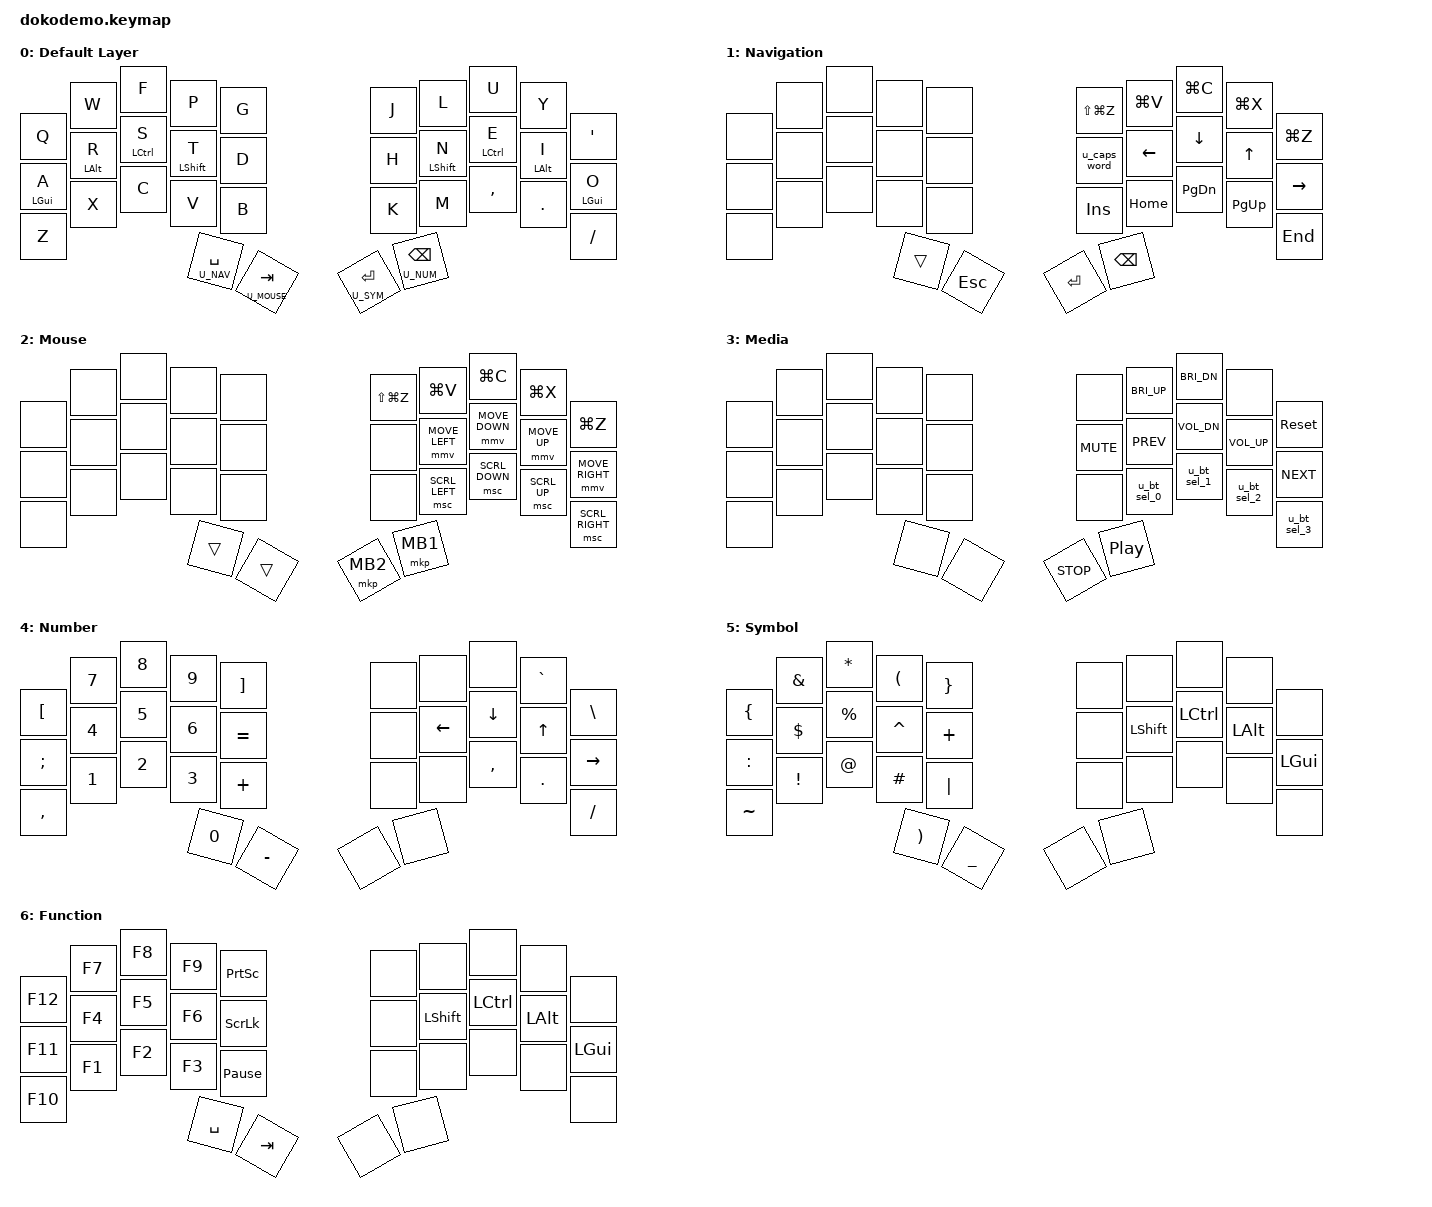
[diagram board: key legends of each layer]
// Copyright (c) 2022 The ZMK Contributors
// SPDX-License-Identifier: MIT


// ZMK includes
#include <behaviors.dtsi>
#include <dt-bindings/zmk/keys.h>
#include <dt-bindings/zmk/bt.h>
#include <dt-bindings/zmk/behaviors.h>


// Layers
#define U_BASE 0
#define U_NAV 1
#define U_MOUSE 2
#define U_MEDIA 3
#define U_NUM 4
#define U_SYM 5
#define U_FUN 6


// Clipboard - Custom keycodes
// If define statment has "&", don't add "&" in the mapping.
#define U_RDO &kp LS(LG(Z))
#define U_PST &kp LG(V)
#define U_CPY &kp LG(C)
#define U_CUT &kp LG(X)
#define U_UND &kp LG(Z)


// Mousekeys
#define ZMK_POINTING_DEFAULT_MOVE_VAL 700 // 1250 (Per Miryoku's settings)
#define ZMK_POINTING_DEFAULT_SCRL_VAL 20 // 100 (Per Miryoku's settings)

#include <dt-bindings/zmk/pointing.h>

#define U_BTN1 &mkp MB1
#define U_BTN2 &mkp MB2
#define U_BTN3 &mkp MB3

#define U_MS_D &mmv MOVE_DOWN
#define U_MS_L &mmv MOVE_LEFT
#define U_MS_R &mmv MOVE_RIGHT
#define U_MS_U &mmv MOVE_UP
#define U_WH_D &msc SCRL_DOWN
#define U_WH_L &msc SCRL_LEFT
#define U_WH_R &msc SCRL_RIGHT
#define U_WH_U &msc SCRL_UP


// Mouse behaviour
&mmv {
    acceleration-exponent = <1>;
    time-to-max-speed-ms = <500>;
    delay-ms = <0>;
};

&msc {
    acceleration-exponent = <0>;
    time-to-max-speed-ms = <300>;
    delay-ms = <0>;
};


// Macros - Bluetooth
/ {
    macros {
        u_macro_bt_sel_0: u_macro_bt_sel_0 {
            compatible = "zmk,behavior-macro";
            #binding-cells = <0>;
            wait-ms = <0>;
            bindings = <&bt BT_SEL 0 &bt BT_CLR>;
        };
        u_macro_bt_sel_1: u_macro_bt_sel_1 {
            compatible = "zmk,behavior-macro";
            #binding-cells = <0>;
            wait-ms = <0>;
            bindings = <&bt BT_SEL 1 &bt BT_CLR>;
        };
        u_macro_bt_sel_2: u_macro_bt_sel_2 {
            compatible = "zmk,behavior-macro";
            #binding-cells = <0>;
            wait-ms = <0>;
            bindings = <&bt BT_SEL 2 &bt BT_CLR>;
        };
        u_macro_bt_sel_3: u_macro_bt_sel_3 {
            compatible = "zmk,behavior-macro";
            #binding-cells = <0>;
            wait-ms = <0>;
            bindings = <&bt BT_SEL 3 &bt BT_CLR>;
        };
    };
};


// Behaviours
/ {
    behaviors {
        // urob-style timeless homerow mods
        // Regular mod tap and layer tap wasn't cutting it as inputting multiple HRM combos is finnicky.
        hm: homerow_mods {
            compatible = "zmk,behavior-hold-tap";
            #binding-cells = <2>;
            tapping-term-ms = <260>; // 200
            quick-tap-ms = <175>;
            require-prior-idle-ms = <150>; // 150
            flavor = "balanced";
            bindings = <&kp>, <&kp>;
        };
        // mod tap and layer tap
        // mod tap behaviour not in use
        /*mt: mod_tap {
            compatible = "zmk,behavior-hold-tap";
            #binding-cells = <2>;
            flavor = "tap-preferred";
            tapping-term-ms = <200>;
            bindings = <&kp>, <&kp>;
        };*/
        lt: layer_tap {
            compatible = "zmk,behavior-hold-tap";
            #binding-cells = <2>;
            flavor = "balanced"; // Tap preferred
            tapping-term-ms = <200>;
            quick-tap-ms = <175>; // Implemented urob's global quick tap
            bindings = <&mo>, <&kp>;
        };
        // Bluetooth
        u_bt_sel_0: u_bt_sel_0 {
            compatible = "zmk,behavior-mod-morph";
            #binding-cells = <0>;
            bindings = <&bt BT_SEL 0>, <&u_macro_bt_sel_0>;
            mods = <(MOD_LSFT|MOD_RSFT)>;
        };
        u_bt_sel_1: u_bt_sel_1 {
            compatible = "zmk,behavior-mod-morph";
            #binding-cells = <0>;
            bindings = <&bt BT_SEL 1>, <&u_macro_bt_sel_1>;
            mods = <(MOD_LSFT|MOD_RSFT)>;
        };
        u_bt_sel_2: u_bt_sel_2 {
            compatible = "zmk,behavior-mod-morph";
            #binding-cells = <0>;
            bindings = <&bt BT_SEL 2>, <&u_macro_bt_sel_2>;
            mods = <(MOD_LSFT|MOD_RSFT)>;
        };
        u_bt_sel_3: u_bt_sel_3 {
            compatible = "zmk,behavior-mod-morph";
            #binding-cells = <0>;
            bindings = <&bt BT_SEL 3>, <&u_macro_bt_sel_3>;
            mods = <(MOD_LSFT|MOD_RSFT)>;
        };
        // Caps word
        u_caps_word: u_caps_word {
            compatible = "zmk,behavior-mod-morph";
            #binding-cells = <0>;
            bindings = <&caps_word>, <&kp CAPS>;
            mods = <(MOD_LSFT|MOD_RSFT)>;
        };
    };
};


// Thumbcombos
#define THUMB_LEFT 30 31
#define THUMB_RIGHT 32 33

/ {
    combos {
        compatible = "zmk,combos";
        combo_base_left {
            layers = <U_BASE>;
            timeout-ms = <200>;
            key-positions = <THUMB_LEFT>;
            bindings = <&lt U_MEDIA ESC>;
        };
        combo_num_left {
            layers = <U_NUM>;
            timeout-ms = <200>;
            key-positions = <THUMB_LEFT>;
            bindings = <&kp DOT>;
        };
        combo_sym_left {
            layers = <U_SYM>;
            timeout-ms = <200>;
            key-positions = <THUMB_LEFT>;
            bindings = <&kp LPAR>;
        };
        combo_fun_left {
            layers = <U_FUN>;
            timeout-ms = <200>;
            key-positions = <THUMB_LEFT>;
            bindings = <&kp K_APP>;
        };
        combo_base_right {
            layers = <U_BASE>;
            timeout-ms = <200>;
            key-positions = <THUMB_RIGHT>;
            bindings = <&lt U_FUN DEL>;
        };
        combo_nav_right {
            layers = <U_NAV>;
            timeout-ms = <200>;
            key-positions = <THUMB_RIGHT>;
            bindings = <&kp DEL>;
        };
        combo_mouse_right {
            layers = <U_MOUSE>;
            timeout-ms = <200>;
            key-positions = <THUMB_RIGHT>;
            bindings = <U_BTN3>;
        };
        combo_media_right {
            layers = <U_MEDIA>;
            timeout-ms = <200>;
            key-positions = <THUMB_RIGHT>;
            bindings = <&kp C_MUTE>;
        };
    };
};


// Keymap
/{
    keymap {
        compatible = "zmk,keymap";
        U_BASE {
            display-name = "Default Layer";
            bindings = <
        //╭──────────┬──────────┬──────────┬──────────┬──────────╮   ╭──────────┬──────────┬──────────┬──────────┬──────────╮
            &kp Q      &kp W      &kp F      &kp P      &kp G          &kp J      &kp L      &kp U      &kp Y      &kp SQT
        //├──────────┼──────────┼──────────┼──────────┼──────────┤   ├──────────┼──────────┼──────────┼──────────┼──────────┤
            &hm LGUI A  &hm LALT R  &hm LCTRL S &hm LSHFT T &kp D      &kp H      &hm LSHFT N &hm LCTRL E &hm LALT I &hm LGUI O
        //├──────────┼──────────┼──────────┼──────────┼──────────┤   ├──────────┼──────────┼──────────┼──────────┼──────────┤
            &kp Z      &kp X      &kp C      &kp V      &kp B          &kp K      &kp M      &kp COMMA  &kp DOT    &kp FSLH
        //╰──────────┴──────────┴──────────┼──────────┼──────────┤   ├──────────┼──────────┼──────────┴──────────┴──────────╯
                                            &lt U_NAV SPACE &lt U_MOUSE TAB &lt U_SYM RET &lt U_NUM BSPC
        //                                 ╰──────────┴──────────╯   ╰──────────┴──────────╯
            >;
        };

        U_NAV {
            display-name = "Navigation";
            bindings = <
        //╭──────────┬──────────┬──────────┬──────────┬──────────╮   ╭──────────┬──────────┬──────────┬──────────┬──────────╮
            &none      &none      &none       &none      &none          U_RDO      U_PST      U_CPY      U_CUT      U_UND
        //├──────────┼──────────┼──────────┼──────────┼──────────┤   ├──────────┼──────────┼──────────┼──────────┼──────────┤
            &none      &none      &none       &none      &none       &u_caps_word  &kp LEFT  &kp DOWN   &kp UP  &kp RIGHT
        //├──────────┼──────────┼──────────┼──────────┼──────────┤   ├──────────┼──────────┼──────────┼──────────┼──────────┤
           &none      &none      &none       &none      &none         &kp INS  &kp HOME  &kp PG_DN    &kp PG_UP    &kp END
        //╰──────────┴──────────┴──────────┼──────────┼──────────┤   ├──────────┼──────────┼──────────┴──────────┴──────────╯
                                             &trans     &kp ESC        &kp RET   &kp BSPC
        //                                 ╰──────────┴──────────╯   ╰──────────┴──────────╯
            >;
        };

        U_MOUSE {
            display-name = "Mouse";
            bindings = <
        //╭──────────┬──────────┬──────────┬──────────┬──────────╮   ╭──────────┬──────────┬──────────┬──────────┬──────────╮
            &none      &none       &none     &none      &none           U_RDO      U_PST      U_CPY      U_CUT      U_UND
        //├──────────┼──────────┼──────────┼──────────┼──────────┤   ├──────────┼──────────┼──────────┼──────────┼──────────┤
            &none      &none       &none     &none      &none           &none     U_MS_L     U_MS_D     U_MS_U     U_MS_R
        //├──────────┼──────────┼──────────┼──────────┼──────────┤   ├──────────┼──────────┼──────────┼──────────┼──────────┤
            &none      &none       &none     &none      &none          &none      U_WH_L     U_WH_D     U_WH_U     U_WH_R
        //╰──────────┴──────────┴──────────┼──────────┼──────────┤   ├──────────┼──────────┼──────────┴──────────┴──────────╯
                                             &trans     &trans         U_BTN2      U_BTN1
        //                                 ╰──────────┴──────────╯   ╰──────────┴──────────╯
            >;
        };

        U_MEDIA {
            display-name = "Media";
            bindings = <
        //╭──────────┬──────────┬──────────┬──────────┬──────────╮   ╭──────────┬──────────┬──────────┬──────────┬──────────╮
            &none      &none       &none     &none      &none          &none     &kp C_BRI_UP  &kp C_BRI_DN    &none    &sys_reset
        //├──────────┼──────────┼──────────┼──────────┼──────────┤   ├──────────┼──────────┼──────────┼──────────┼──────────┤
            &none      &none       &none     &none      &none         &kp C_MUTE   &kp C_PREV &kp C_VOL_DN &kp C_VOL_UP &kp C_NEXT
        //├──────────┼──────────┼──────────┼──────────┼──────────┤   ├──────────┼──────────┼──────────┼──────────┼──────────┤
            &none      &none       &none     &none      &none         &none    &u_bt_sel_0 &u_bt_sel_1 &u_bt_sel_2 &u_bt_sel_3
        //╰──────────┴──────────┴──────────┼──────────┼──────────┤   ├──────────┼──────────┼──────────┴──────────┴──────────╯
                                             &none      &none          &kp C_STOP   &kp C_PP
        //                                 ╰──────────┴──────────╯   ╰──────────┴──────────╯
            >;
        };

        U_NUM {
            display-name = "Number";
            bindings = <
        //╭──────────┬──────────┬──────────┬──────────┬──────────╮   ╭──────────┬──────────┬──────────┬──────────┬──────────╮
            &kp LBKT     &kp N7    &kp N8    &kp N9     &kp RBKT        &none      &none    &none     &kp GRAVE   &kp BSLH
        //├──────────┼──────────┼──────────┼──────────┼──────────┤   ├──────────┼──────────┼──────────┼──────────┼──────────┤
            &kp SEMI    &kp N4    &kp N5     &kp N6     &kp EQUAL       &none     &kp LEFT   &kp DOWN    &kp UP    &kp RIGHT
        //├──────────┼──────────┼──────────┼──────────┼──────────┤   ├──────────┼──────────┼──────────┼──────────┼──────────┤
            &kp COMMA   &kp N1    &kp N2    &kp N3      &kp PLUS        &none      &none    &kp COMMA   &kp DOT    &kp FSLH
        //╰──────────┴──────────┴──────────┼──────────┼──────────┤   ├──────────┼──────────┼──────────┴──────────┴──────────╯
                                             &kp N0     &kp MINUS       &none      &none
        //                                 ╰──────────┴──────────╯   ╰──────────┴──────────╯
            >;
        };

        U_SYM {
            display-name = "Symbol";
            bindings = <
        //╭──────────┬──────────┬──────────┬──────────┬──────────╮   ╭──────────┬──────────┬──────────┬──────────┬──────────╮
            &kp LBRC    &kp AMPS   &kp ASTRK  &kp LPAR  &kp RBRC        &none      &none       &none     &none      &none
        //├──────────┼──────────┼──────────┼──────────┼──────────┤   ├──────────┼──────────┼──────────┼──────────┼──────────┤
            &kp COLON   &kp DLLR   &kp PRCNT  &kp CARET &kp PLUS       &none      &kp LSHFT  &kp LCTRL   &kp LALT  &kp LGUI
        //├──────────┼──────────┼──────────┼──────────┼──────────┤   ├──────────┼──────────┼──────────┼──────────┼──────────┤
            &kp TILDE   &kp EXCL   &kp AT     &kp HASH  &kp PIPE        &none      &none       &none     &none      &none
        //╰──────────┴──────────┴──────────┼──────────┼──────────┤   ├──────────┼──────────┼──────────┴──────────┴──────────╯
                                             &kp RPAR   &kp UNDER       &none      &none
        //                                 ╰──────────┴──────────╯   ╰──────────┴──────────╯
            >;
        };

        U_FUN {
            display-name = "Function";
            bindings = <
        //╭──────────┬──────────┬──────────┬──────────┬──────────╮   ╭──────────┬──────────┬──────────┬──────────┬──────────╮
            &kp F12     &kp F7     &kp F8     &kp F9     &kp PSCRN      &none      &none       &none     &none      &none
        //├──────────┼──────────┼──────────┼──────────┼──────────┤   ├──────────┼──────────┼──────────┼──────────┼──────────┤
            &kp F11     &kp F4     &kp F5     &kp F6     &kp SLCK       &none      &kp LSHFT  &kp LCTRL  &kp LALT  &kp LGUI
        //├──────────┼──────────┼──────────┼──────────┼──────────┤   ├──────────┼──────────┼──────────┼──────────┼──────────┤
            &kp F10     &kp F1     &kp F2     &kp F3     &kp PAUSE_BREAK  &none      &none       &none     &none      &none
        //╰──────────┴──────────┴──────────┼──────────┼──────────┤   ├──────────┼──────────┼──────────┴──────────┴──────────╯
                                             &kp SPACE   &kp TAB          &none      &none
        //                                 ╰──────────┴──────────╯   ╰──────────┴──────────╯
            >;
        };
    };
};
